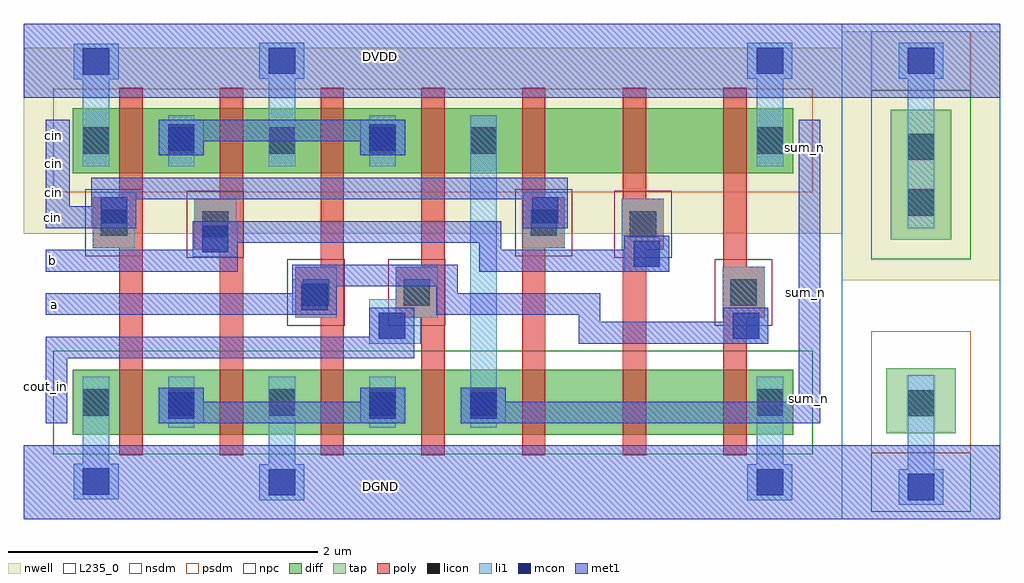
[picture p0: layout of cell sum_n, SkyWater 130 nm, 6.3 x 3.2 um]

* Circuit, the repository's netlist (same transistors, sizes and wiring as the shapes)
** sch_path: /home/ee24s053/ee5311-2025/tut6/again/sum_n/sum_n.sch
.subckt sum_n DVDD a b sum_n cin cout_in DGND
*.PININFO a:I b:I cin:I DGND:B cout_in:I DVDD:B sum_n:O
XM1 net1 a DGND DGND sky130_fd_pr__nfet_01v8 L=0.15 W=0.42 nf=1 m=1
XM2 net1 b DGND DGND sky130_fd_pr__nfet_01v8 L=0.15 W=0.42 nf=1 m=1
XM3 net1 cin DGND DGND sky130_fd_pr__nfet_01v8 L=0.15 W=0.42 nf=1 m=1
XM4 net3 a DGND DGND sky130_fd_pr__nfet_01v8 L=0.15 W=0.42 nf=1 m=1
XM5 net2 b net3 DGND sky130_fd_pr__nfet_01v8 L=0.15 W=0.42 nf=1 m=1
XM6 sum_n cin net2 DGND sky130_fd_pr__nfet_01v8 L=0.15 W=0.42 nf=1 m=1
XM7 sum_n cout_in net1 DGND sky130_fd_pr__nfet_01v8 L=0.15 W=0.42 nf=1 m=1
XM8 sum_n cout_in net4 DVDD sky130_fd_pr__pfet_01v8 L=0.15 W=0.42 nf=1 m=1
XM9 sum_n cin net6 DVDD sky130_fd_pr__pfet_01v8 L=0.15 W=0.42 nf=1 m=1
XM10 net6 b net5 DVDD sky130_fd_pr__pfet_01v8 L=0.15 W=0.42 nf=1 m=1
XM11 net5 a DVDD DVDD sky130_fd_pr__pfet_01v8 L=0.15 W=0.42 nf=1 m=1
XM12 net4 cin DVDD DVDD sky130_fd_pr__pfet_01v8 L=0.15 W=0.42 nf=1 m=1
XM13 net4 b DVDD DVDD sky130_fd_pr__pfet_01v8 L=0.15 W=0.42 nf=1 m=1
XM14 net4 a DVDD DVDD sky130_fd_pr__pfet_01v8 L=0.15 W=0.42 nf=1 m=1
.ends
.end

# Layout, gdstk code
from math import pi, radians
import gdstk
lib = gdstk.Library(unit=1e-6, precision=1e-09)
def R(c, l, rs):  # rectangles x0, y0, x1, y1
    for r in rs: c.add(gdstk.rectangle(r[:2], r[2:], *l))
def A(c, l, x, y, w, h, nx, ny, dx, dy):  # array of equal rectangles
    R(c, l, [(x+i*dx, y+j*dy, x+i*dx+w, y+j*dy+h) for i in range(nx) for j in range(ny)])
nwell = (64, 20)
diff = (65, 20)
tap = (65, 44)
poly = (66, 20)
licon = (66, 44)
li1 = (67, 20)
mcon = (67, 44)
met1 = (68, 20)
nsdm = (93, 44)
psdm = (94, 20)
npc = (95, 20)
L235_0 = (235, 0)

nfet = lib.new_cell('nfet')
R(nfet, diff, [(0,0,4.65,0.42)])
A(nfet, poly, 0.3, -0.13, 0.15, 0.75, 7, 1, 0.65, 0)
A(nfet, licon, 0.615, 0.125, 0.17, 0.17, 4, 1, 0.65, 0)
R(nfet, licon, [(0.065,0.125,0.235,0.295), (4.415,0.125,4.585,0.295)])
A(nfet, li1, 0.615, 0.045, 0.17, 0.33, 4, 1, 0.65, 0)
R(nfet, li1, [(0.065,0.045,0.235,0.375), (4.415,0.045,4.585,0.375)])
R(nfet, nsdm, [(-0.125,-0.125,4.775,0.545)])

vias_gen = lib.new_cell('vias_gen')
R(vias_gen, li1, [(0,0,0.29,0.23)])
R(vias_gen, mcon, [(0.06,0.03,0.23,0.2)])
R(vias_gen, met1, [(0,0,0.29,0.23)])

tap_ = lib.new_cell('tap')
R(tap_, nwell, [(-1.455,0.92,-0.435,2.525)])
R(tap_, tap, [(-1.17,-0.07,-0.72,0.35), (-1.14,1.18,-0.75,2.02)])
R(tap_, licon, [(-1.03,0.04,-0.86,0.21), (-1.03,1.335,-0.86,1.505), (-1.03,1.695,-0.86,1.865)])
R(tap_, li1, [(-1.03,-0.3,-0.86,-0.025), (-1.03,-0.025,-0.86,0.305), (-1.03,1.255,-0.86,1.945), (-1.03,1.945,-0.86,2.25)])
R(tap_, met1, [(-1.455,-0.625,-0.435,-0.145), (-1.455,2.095,-0.435,2.575)])
R(tap_, nsdm, [(-1.265,-0.575,-0.625,-0.195), (-1.265,1.055,-0.625,2.145)])
R(tap_, psdm, [(-1.265,-0.195,-0.625,0.59), (-1.265,2.145,-0.625,2.525)])
R(tap_, L235_0, [(-1.455,-0.625,-0.435,2.575)])
tap_.add(gdstk.Reference(vias_gen, (-1.09,-0.53)))
tap_.add(gdstk.Reference(vias_gen, (-1.09,2.22)))

vias_gen_1 = lib.new_cell('vias_gen$1')
R(vias_gen_1, li1, [(0,0,0.29,0.23)])
R(vias_gen_1, mcon, [(0.06,0.03,0.23,0.2)])
R(vias_gen_1, met1, [(0,0,0.29,0.23)])

vias_gen_2 = lib.new_cell('vias_gen$2')
R(vias_gen_2, poly, [(0,0,0.33,0.27)])
R(vias_gen_2, licon, [(0.08,0.05,0.25,0.22)])
R(vias_gen_2, li1, [(0,0,0.33,0.27)])
R(vias_gen_2, npc, [(-0.05,-0.05,0.38,0.32)])

vias_gen_3 = lib.new_cell('vias_gen$3')
R(vias_gen_3, li1, [(0,0,0.29,0.23)])
R(vias_gen_3, mcon, [(0.06,0.03,0.23,0.2)])
R(vias_gen_3, met1, [(0,0,0.29,0.23)])

vias_gen_4 = lib.new_cell('vias_gen$4')
R(vias_gen_4, li1, [(0,0,0.29,0.23)])
R(vias_gen_4, mcon, [(0.06,0.03,0.23,0.2)])
R(vias_gen_4, met1, [(0,0,0.29,0.23)])

pfet = lib.new_cell('pfet')
R(pfet, nwell, [(-0.315,-0.39,4.965,0.81)])
R(pfet, diff, [(0,0,4.65,0.42)])
A(pfet, poly, 0.3, -0.2, 0.15, 0.75, 7, 1, 0.65, 0)
A(pfet, licon, 0.615, 0.125, 0.17, 0.17, 4, 1, 0.65, 0)
R(pfet, licon, [(0.065,0.125,0.235,0.295), (4.415,0.125,4.585,0.295)])
A(pfet, li1, 0.615, 0.045, 0.17, 0.33, 4, 1, 0.65, 0)
R(pfet, li1, [(0.065,0.045,0.235,0.375), (4.415,0.045,4.585,0.375)])
R(pfet, psdm, [(-0.125,-0.125,4.775,0.545)])

vias_gen_5 = lib.new_cell('vias_gen$5')
R(vias_gen_5, li1, [(0,0,0.29,0.23)])
R(vias_gen_5, mcon, [(0.06,0.03,0.23,0.2)])
R(vias_gen_5, met1, [(0,0,0.29,0.23)])

sum_n = lib.new_cell('sum_n')
R(sum_n, li1, [(-1.645,0.27,-1.605,0.435), (-1.935,0.5,-1.765,0.555)])
R(sum_n, met1, [(-4.165,-0.865,1.115,-0.385), (-4.025,-0.245,-3.885,0.175), (-4.025,1.155,-3.87,1.715), (-4.165,1.855,1.115,2.335)])
sum_n.add(gdstk.FlexPath([(-2.5,1.745),(-2.5,1.98)], 0.17, ends="flush", simple_path=True, layer=67, datatype=20))  # li1
sum_n.add(gdstk.FlexPath([(-3.7,1.74),(-3.7,1.975)], 0.17, ends="flush", simple_path=True, layer=67, datatype=20))  # li1
sum_n.add(gdstk.FlexPath([(0.65,1.745),(0.65,1.98)], 0.17, ends="flush", simple_path=True, layer=67, datatype=20))  # li1
sum_n.add(gdstk.FlexPath([(-1.2,1.415),(-1.2,0.055)], 0.17, ends="flush", simple_path=True, layer=67, datatype=20))  # li1
sum_n.add(gdstk.FlexPath([(-2.5,-0.275),(-2.5,-0.51)], 0.17, ends="flush", simple_path=True, layer=67, datatype=20))  # li1
sum_n.add(gdstk.FlexPath([(-3.7,-0.27),(-3.7,-0.505)], 0.17, ends="flush", simple_path=True, layer=67, datatype=20))  # li1
sum_n.add(gdstk.FlexPath([(0.65,-0.275),(0.65,-0.51)], 0.17, ends="flush", simple_path=True, layer=67, datatype=20))  # li1
sum_n.add(gdstk.FlexPath([(-1.055,-0.175),(0.905,-0.175),(0.905,1.715)], 0.14, ends="flush", simple_path=True, layer=68, datatype=20))  # met1
sum_n.add(gdstk.FlexPath([(-2.785,0.805),(-4.025,0.805)], 0.14, ends="flush", simple_path=True, layer=68, datatype=20))  # met1
sum_n.add(gdstk.FlexPath([(-2.435,0.525),(-4.025,0.525)], 0.14, ends="flush", simple_path=True, layer=68, datatype=20))  # met1
sum_n.add(gdstk.FlexPath([(-3.73,1.085),(-4.025,1.085)], 0.14, ends="flush", simple_path=True, layer=68, datatype=20))  # met1
sum_n.add(gdstk.FlexPath([(-1.645,0.245),(-4.025,0.245)], 0.14, ends="flush", simple_path=True, layer=68, datatype=20))  # met1
sum_n.add(gdstk.FlexPath([(-3.005,-0.175),(-1.995,-0.175)], 0.14, ends="flush", simple_path=True, layer=68, datatype=20))  # met1
sum_n.add(gdstk.FlexPath([(-3.005,1.645),(-1.995,1.645)], 0.14, ends="flush", simple_path=True, layer=68, datatype=20))  # met1
sum_n.add(gdstk.FlexPath([(-3.73,1.27),(-0.655,1.27)], 0.14, ends="flush", simple_path=True, layer=68, datatype=20))  # met1
sum_n.add(gdstk.FlexPath([(-1.085,0.805),(-0.29,0.805)], 0.14, ends="flush", simple_path=True, layer=68, datatype=20))  # met1
sum_n.add(gdstk.FlexPath([(-1.155,0.735),(-1.155,1.06)], 0.14, ends="flush", simple_path=True, layer=68, datatype=20))  # met1
sum_n.add(gdstk.FlexPath([(-1.225,0.99),(-2.785,0.99)], 0.14, ends="flush", simple_path=True, layer=68, datatype=20))  # met1
sum_n.add(gdstk.FlexPath([(-0.445,0.34),(0.35,0.34)], 0.14, ends="flush", simple_path=True, layer=68, datatype=20))  # met1
sum_n.add(gdstk.FlexPath([(-0.515,0.27),(-0.515,0.595)], 0.14, ends="flush", simple_path=True, layer=68, datatype=20))  # met1
sum_n.add(gdstk.FlexPath([(-0.585,0.525),(-1.365,0.525)], 0.14, ends="flush", simple_path=True, layer=68, datatype=20))  # met1
sum_n.add(gdstk.FlexPath([(-1.435,0.455),(-1.435,0.71),(-2.435,0.71)], 0.14, ends="flush", simple_path=True, layer=68, datatype=20))  # met1
sum_n.add(gdstk.FlexPath([(0.425,0.3),(0.425,1.17)], 0.15, ends="flush", simple_path=True, layer=66, datatype=20))  # poly
sum_n.add(gdstk.FlexPath([(-0.225,0.3),(-0.225,1.17)], 0.15, ends="flush", simple_path=True, layer=66, datatype=20))  # poly
sum_n.add(gdstk.FlexPath([(-0.875,0.3),(-0.875,1.17)], 0.15, ends="flush", simple_path=True, layer=66, datatype=20))  # poly
sum_n.add(gdstk.FlexPath([(-1.525,0.3),(-1.525,1.17)], 0.15, ends="flush", simple_path=True, layer=66, datatype=20))  # poly
sum_n.add(gdstk.FlexPath([(-2.175,0.3),(-2.175,1.17)], 0.15, ends="flush", simple_path=True, layer=66, datatype=20))  # poly
sum_n.add(gdstk.FlexPath([(-2.825,0.3),(-2.825,1.17)], 0.15, ends="flush", simple_path=True, layer=66, datatype=20))  # poly
sum_n.add(gdstk.FlexPath([(-3.475,0.3),(-3.475,1.17)], 0.15, ends="flush", simple_path=True, layer=66, datatype=20))  # poly
sum_n.add(gdstk.Reference(nfet, (-3.85,-0.32)))
sum_n.add(gdstk.Reference(tap_, (2.57,-0.24)))
sum_n.add(gdstk.Reference(vias_gen_1, (-2.645,-0.74)))
sum_n.add(gdstk.Reference(vias_gen_1, (-3.845,-0.735)))
sum_n.add(gdstk.Reference(vias_gen_2, (-3.45,0.885), rotation=pi/2))
sum_n.add(gdstk.Reference(vias_gen_2, (-2.795,0.875), rotation=pi/2))
sum_n.add(gdstk.Reference(vias_gen_2, (-2.145,0.435), rotation=pi/2))
sum_n.add(gdstk.Reference(vias_gen_3, (0.505,-0.74)))
sum_n.add(gdstk.Reference(vias_gen_2, (-0.675,0.885), rotation=pi/2))
sum_n.add(gdstk.Reference(vias_gen_2, (-1.495,0.435), rotation=pi/2))
sum_n.add(gdstk.Reference(vias_gen_4, (-3.73,1.015)))
sum_n.add(gdstk.Reference(vias_gen_2, (0.615,0.435), rotation=pi/2))
sum_n.add(gdstk.Reference(vias_gen_4, (-2.645,2.21), x_reflection=True))
sum_n.add(gdstk.Reference(vias_gen_4, (-0.945,1.015)))
sum_n.add(gdstk.Reference(vias_gen_2, (-0.035,0.875), rotation=pi/2))
sum_n.add(gdstk.Reference(vias_gen_3, (-3.295,-0.245)))
sum_n.add(gdstk.Reference(vias_gen_4, (-3.075,0.83)))
sum_n.add(gdstk.Reference(vias_gen_4, (-0.29,0.735)))
sum_n.add(gdstk.Reference(pfet, (-3.85,1.37)))
sum_n.add(gdstk.Reference(vias_gen_4, (-3.845,2.205), x_reflection=True))
sum_n.add(gdstk.Reference(vias_gen_4, (0.505,2.21), x_reflection=True))
sum_n.add(gdstk.Reference(vias_gen_4, (-1.995,-0.245)))
sum_n.add(gdstk.Reference(vias_gen_4, (-3.295,1.715), x_reflection=True))
sum_n.add(gdstk.Reference(vias_gen_4, (-1.995,1.715), x_reflection=True))
sum_n.add(gdstk.Reference(vias_gen_4, (-2.435,0.455)))
sum_n.add(gdstk.Reference(vias_gen_4, (0.35,0.27)))
sum_n.add(gdstk.Reference(vias_gen_4, (-1.935,0.27)))
sum_n.add(gdstk.Reference(vias_gen_5, (-1.345,-0.245)))
sum_n.add(gdstk.Label('sum_n', (0.87,1.535), layer=68, texttype=5))
sum_n.add(gdstk.Label('sum_n', (0.88,0.6), layer=68, texttype=5))
sum_n.add(gdstk.Label('sum_n', (0.9,-0.085), layer=68, texttype=5))
sum_n.add(gdstk.Label('cin', (-3.975,1.615), layer=68, texttype=5))
sum_n.add(gdstk.Label('cin', (-3.975,1.435), layer=68, texttype=5))
sum_n.add(gdstk.Label('cin', (-3.975,1.245), layer=68, texttype=5))
sum_n.add(gdstk.Label('cin', (-3.98,1.085), layer=68, texttype=5))
sum_n.add(gdstk.Label('b', (-3.98,0.805), layer=68, texttype=5))
sum_n.add(gdstk.Label('a', (-3.965,0.525), layer=68, texttype=5))
sum_n.add(gdstk.Label('cout_in', (-4.025,-0.01), layer=68, texttype=5))
sum_n.add(gdstk.Label('DVDD', (-1.865,2.125), layer=68, texttype=5))
sum_n.add(gdstk.Label('DGND', (-1.865,-0.655), layer=68, texttype=5))

lib.write_gds('sum_n.gds')
